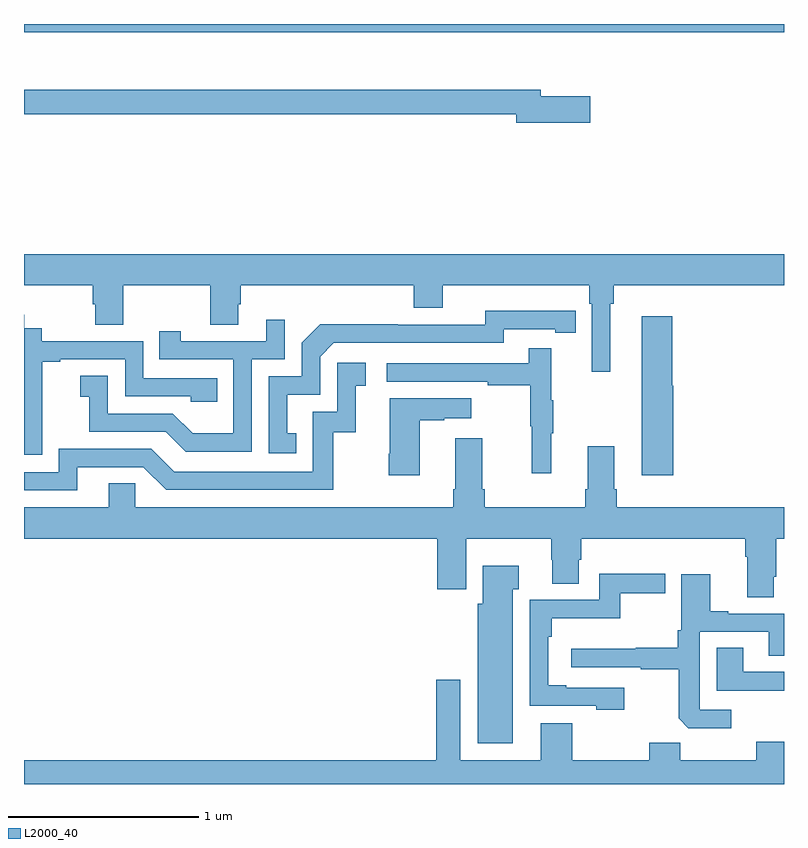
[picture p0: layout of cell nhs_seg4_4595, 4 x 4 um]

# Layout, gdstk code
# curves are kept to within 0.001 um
import gdstk
lib = gdstk.Library(unit=1e-6, precision=1e-09)
def R(c, l, rs):  # rectangles x0, y0, x1, y1
    for r in rs: c.add(gdstk.rectangle(r[:2], r[2:], *l))
def P(c, l, *ps):  # polygons
    for p in ps: c.add(gdstk.Polygon(p, *l))
L2000_40 = (2000, 40)

nhs_seg4_4595 = lib.new_cell('nhs_seg4_4595')
R(nhs_seg4_4595, L2000_40, [(359,760.856,363,760.9)])
P(nhs_seg4_4595, L2000_40, [(361.981,760.521),(361.72,760.521),(361.72,760.555),(359,760.555),(359,760.426),(361.592,760.426),(361.592,760.379),(361.981,760.379)],
  [(362.086,759.428),(362.105,759.428),(362.105,759.524),(363,759.524),(363,759.688),(359,759.688),(359,759.524),(359.363,759.524),(359.363,759.426),(359.375,759.426),(359.375,759.316),(359.523,759.316),(359.523,759.524),(359.98,759.524),(359.98,759.316),(360.127,759.316),(360.127,759.426),(360.14,759.426),(360.14,759.524),(361.052,759.524),(361.052,759.407),(361.204,759.407),(361.204,759.524),(361.976,759.524),(361.976,759.428),(361.989,759.428),(361.989,759.069),(362.086,759.069)],
  [(360.434,758.745),(360.385,758.745),(360.385,758.949),(360.558,758.949),(360.558,759.15),(360.63,759.222),(361.524,759.222),(361.524,759.294),(361.796,759.294),(361.796,759.274),(361.904,759.274),(361.904,759.39),(361.428,759.391),(361.428,759.318),(360.968,759.318),(360.968,759.32),(360.56,759.32),(360.462,759.222),(360.462,759.045),(360.288,759.045),(360.288,758.64),(360.434,758.64)],
  [(359.097,758.839),(359.096,758.839),(359.096,759.123),(359.191,759.123),(359.191,759.135),(359.532,759.135),(359.532,758.94),(359.877,758.94),(359.877,758.913),(360.017,758.913),(360.017,759.036),(359.628,759.036),(359.628,759.231),(359.094,759.231),(359.094,759.3),(359.002,759.3),(359.002,759.37),(359,759.37),(359,758.633),(359.097,758.633)],
  [(362.416,758.997),(362.411,758.997),(362.411,759.361),(362.252,759.361),(362.252,758.526),(362.416,758.526)],
  [(360.198,759.135),(360.372,759.135),(360.372,759.343),(360.275,759.343),(360.275,759.231),(359.824,759.231),(359.824,759.283),(359.713,759.283),(359.713,759.135),(360.102,759.135),(360.102,758.746),(359.888,758.746),(359.784,758.85),(359.442,758.85),(359.442,759.049),(359.295,759.049),(359.295,758.939),(359.344,758.939),(359.344,758.754),(359.747,758.754),(359.852,758.649),(360.198,758.649)],
  [(361.775,758.747),(361.786,758.747),(361.786,758.921),(361.775,758.921),(361.775,759.193),(361.657,759.193),(361.657,759.114),(360.909,759.114),(360.909,759.018),(361.441,759.018),(361.441,758.998),(361.665,758.998),(361.665,758.784),(361.672,758.784),(361.672,758.535),(361.775,758.535)],
  [(359.281,758.568),(359.628,758.568),(359.748,758.448),(360.628,758.448),(360.628,758.751),(360.746,758.751),(360.746,758.997),(360.799,758.997),(360.799,759.118),(360.648,759.118),(360.648,758.859),(360.519,758.859),(360.519,758.544),(359.79,758.544),(359.67,758.664),(359.184,758.664),(359.184,758.541),(359,758.541),(359,758.445),(359.281,758.445)],
  [(361.084,758.815),(361.211,758.815),(361.211,758.825),(361.354,758.825),(361.354,758.929),(360.926,758.929),(360.926,758.638),(360.919,758.638),(360.919,758.526),(361.084,758.526)],
  [(362.947,757.99),(362.96,757.99),(362.96,758.192),(363,758.192),(363,758.356),(362.12,758.356),(362.12,758.452),(362.107,758.452),(362.107,758.677),(361.967,758.677),(361.967,758.452),(361.955,758.452),(361.955,758.356),(361.424,758.356),(361.424,758.452),(361.411,758.452),(361.411,758.719),(361.271,758.719),(361.271,758.452),(361.259,758.452),(361.259,758.356),(359.586,758.356),(359.586,758.483),(359.447,758.483),(359.447,758.356),(359,758.356),(359,758.192),(361.175,758.192),(361.175,757.926),(361.327,757.926),(361.327,758.192),(361.774,758.192),(361.774,758.079),(361.781,758.079),(361.781,757.954),(361.921,757.954),(361.921,758.079),(361.934,758.079),(361.934,758.192),(362.795,758.192),(362.795,758.096),(362.807,758.096),(362.807,757.882),(362.947,757.882)],
  [(361.573,757.925),(361.603,757.925),(361.603,758.05),(361.415,758.05),(361.415,757.848),(361.388,757.848),(361.388,757.115),(361.573,757.115)],
  [(362.158,757.407),(361.855,757.407),(361.855,757.42),(361.758,757.42),(361.758,757.676),(361.778,757.676),(361.778,757.772),(362.137,757.772),(362.137,757.903),(362.374,757.903),(362.374,758.006),(362.028,758.006),(362.028,757.869),(361.662,757.869),(361.662,757.311),(362.013,757.311),(362.013,757.292),(362.158,757.292)],
  [(362.722,757.29),(362.556,757.29),(362.556,757.701),(362.921,757.701),(362.921,757.576),(363,757.576),(363,757.797),(362.707,757.797),(362.707,757.81),(362.611,757.81),(362.611,758.005),(362.46,758.005),(362.46,757.708),(362.44,757.708),(362.44,757.616),(362.221,757.616),(362.221,757.612),(361.881,757.612),(361.881,757.515),(362.245,757.515),(362.245,757.503),(362.445,757.503),(362.445,757.245),(362.497,757.194),(362.722,757.194)],
  [(363,757.491),(362.785,757.491),(362.785,757.616),(362.645,757.616),(362.645,757.39),(363,757.39)],
  [(363,757.123),(362.855,757.123),(362.855,757.024),(362.455,757.024),(362.455,757.117),(362.291,757.117),(362.291,757.024),(361.885,757.024),(361.885,757.219),(361.721,757.219),(361.721,757.024),(361.297,757.024),(361.297,757.45),(361.169,757.45),(361.169,757.024),(359,757.024),(359,756.9),(363,756.9)])

lib.write_gds('nhs_seg4_4595.gds')
